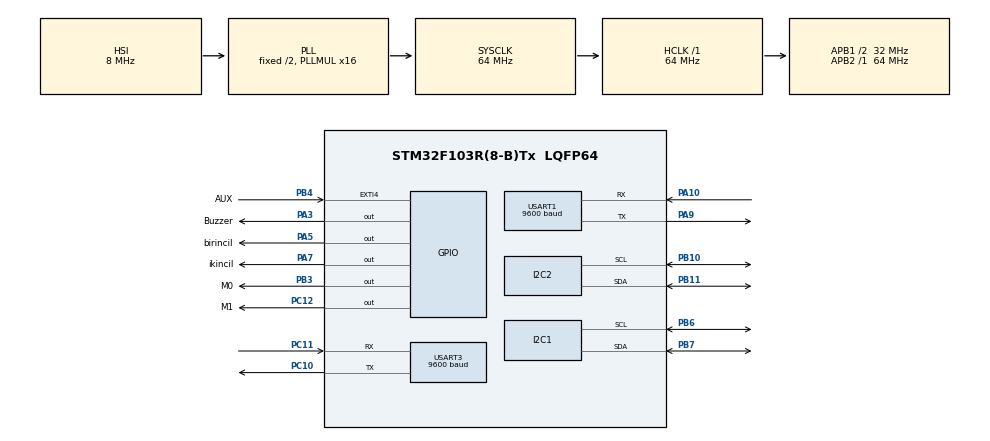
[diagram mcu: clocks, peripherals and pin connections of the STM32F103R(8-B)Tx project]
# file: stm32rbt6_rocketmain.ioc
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I2C1.I2C_Mode=I2C_Standard
I2C2.I2C_Mode=I2C_Standard
Mcu.Family=STM32F1
Mcu.Name=STM32F103R(8-B)Tx
Mcu.Package=LQFP64
NVIC.EXTI4_IRQn=true\:0\:0\:false\:false\:true\:true\:true\:true
NVIC.PriorityGroup=NVIC_PRIORITYGROUP_4
NVIC.USART1_IRQn=true\:0\:0\:false\:false\:true\:true\:true\:true
PA10.Mode=Asynchronous
PA10.Signal=USART1_RX
PA13.Mode=Serial_Wire
PA13.Signal=SYS_JTMS-SWDIO
PA14.Mode=Serial_Wire
PA14.Signal=SYS_JTCK-SWCLK
PA3.GPIO_Label=Buzzer
PA3.Signal=GPIO_Output
PA5.GPIO_Label=birincil
PA5.Signal=GPIO_Output
PA7.GPIO_Label=ikincil
PA7.Signal=GPIO_Output
PA9.Mode=Asynchronous
PA9.Signal=USART1_TX
PB10.Mode=I2C
PB10.Signal=I2C2_SCL
PB11.Mode=I2C
PB11.Signal=I2C2_SDA
PB3.GPIO_Label=M0
PB3.Signal=GPIO_Output
PB4.GPIO_Label=AUX
PB4.Signal=GPXTI4
PB6.Mode=I2C
PB6.Signal=I2C1_SCL
PB7.Mode=I2C
PB7.Signal=I2C1_SDA
PC10.Mode=Asynchronous
PC10.Signal=USART3_TX
PC11.Mode=Asynchronous
PC11.Signal=USART3_RX
PC12.GPIO_Label=M1
PC12.Signal=GPIO_Output
PD0-OSC_IN.Mode=HSE-External-Oscillator
PD0-OSC_IN.Signal=RCC_OSC_IN
PD1-OSC_OUT.Mode=HSE-External-Oscillator
PD1-OSC_OUT.Signal=RCC_OSC_OUT
ProjectManager.HeapSize=0x200
ProjectManager.StackSize=0x400
ProjectManager.TargetToolchain=STM32CubeIDE
RCC.AHBFreq_Value=64000000
RCC.APB1CLKDivider=RCC_HCLK_DIV2
RCC.APB1Freq_Value=32000000
RCC.APB1TimFreq_Value=64000000
RCC.APB2Freq_Value=64000000
RCC.APB2TimFreq_Value=64000000
RCC.HCLKFreq_Value=64000000
RCC.HSE_VALUE=16000000
RCC.PLLMUL=RCC_PLL_MUL16
RCC.SYSCLKFreq_VALUE=64000000
RCC.SYSCLKSource=RCC_SYSCLKSOURCE_PLLCLK
RCC.USBFreq_Value=64000000
USART1.BaudRate=9600
USART1.VirtualMode=VM_ASYNC
USART3.BaudRate=9600
USART3.VirtualMode=VM_ASYNC
board=custom

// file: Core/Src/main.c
/* USER CODE BEGIN Header */
/**
  ******************************************************************************
  * @file           : main.c
  * @brief          : Main program body
  ******************************************************************************
  * @attention
  *
  * Copyright (c) 2023 STMicroelectronics.
  * All rights reserved.
  *
  * This software is licensed under terms that can be found in the LICENSE file
  * in the root directory of this software component.
  * If no LICENSE file comes with this software, it is provided AS-IS.
  *
  ******************************************************************************
  ******************************************************************************
  gps ok

  */
/* USER CODE END Header */
#include "main.h"
#include "i2c.h"
#include "usart.h"
#include "gpio.h"

/* USER CODE BEGIN Includes */
//standart c libraries
#include "stdint.h"
#include "stdio.h"
#include "math.h"
#include "string.h"

//Sensor libraries
#include "lwgps.h"
#include "bmi160_wrapper.h"
#include <bmp3_wrapper.h>

#include "lora_lib.h"
#include "E32Lora.h"

//Filter libraries
#include "micros.h"

#include "quaternion.h"
#include "FusionAHRS.h"
#include "LowPassFilter.h"
#include "NotchFilter.h"

/* USER CODE END Includes */

/* USER CODE BEGIN PTD */
lwgps_t gps; //gps struct
BMI160_t imu_t; //bmı160 struct
BMP390_t bmp_t; //bmp390 struct

dataPaket_t     paket;
Variables_t     variable = { .telemTimer = 0 , .firstinit = TRUE  , .u8_buffer = { 0 } , .u8_counter = 0};
dataStruct_t    data     ;
GcsPaket_t      gcsStructPaket;

Quaternion_t quaternion_t;//quaternion filter struct

FusionBias fusionBiasIMU1;
FusionAhrs fusionAhrsIMU1;
FusionAHRS_t AHRS_IMU1;

NotchFilter_t NF_gyro_x, NF_gyro_y, NF_gyro_z;
LPFTwoPole_t LPF_accel_x, LPF_accel_y, LPF_accel_z, LPF_gyro_x, LPF_gyro_y, LPF_gyro_z;

/* USER CODE END PTD */

/* USER CODE BEGIN PD */
//for low pass filter
#define 	SAMPLE_FREQ_HZ 		200.0f	// Data sample frequency in Hz
#define 	LPF_ACCEL_CTOFF_HZ 	260.0f	// LPF Cut-Off or accelerometer
#define 	LPF_GYRO_CTOFF_HZ 	256.0f	// LPF Cut-Off or gyro
#define 	NF_GYRO_CFREQ_HZ	74.0f	// NF center frequency for Gyro
#define 	NF_GYRO_NWDTH_HZ	5.0f	// NF notch-width frequency for Gyro

#define CURRENT_NODE ROCKET_NODE	//node information

#define MESSAGE_LENGTH  sizeof(message)
#define RECV_LENTH		sizeof(recv)
#define DATA_PKT_LENGTH sizeof( dataPaket_t )
/* USER CODE END PD */

void SystemClock_Config(void);

/* USER CODE BEGIN 0 */
uint8_t gpsrx_buffer[256];
uint8_t gpsrx_index = 0;
uint8_t gpsrx_data = 0;
uint8_t lora_buffer[256];
uint8_t lora_index = 0;
uint8_t lora_data = 0;

void HAL_UART_RxCpltCallback(UART_HandleTypeDef *huart)	//interrupt ile tetiklenerek gps verilerini alır
{
	if(huart == &huart1) //gpsin bağlı olduğu uart kanalı
	{
		if(gpsrx_data != '\n' && gpsrx_index < sizeof(gpsrx_buffer)) {
			gpsrx_buffer[gpsrx_index++] = gpsrx_data; //buffera data aktarılır
		} else {
			lwgps_process(&gps, gpsrx_buffer, gpsrx_index+1);//data parser
			gpsrx_index = 0;
			gpsrx_data = 0;//gelen data tekrar sıfıra eşitlenir
		}
		HAL_UART_Receive_IT(&huart1, &gpsrx_data, 1);
	}
/*
	if(huart==&huart3){

		HAL_UART_Receive(&huart3, &lora_data, 1, 10);
		lora_buffer[lora_index]=lora_data;
		lora_index++;
		HAL_UART_Receive_IT(&huart3, &lora_data, 1);

	}*/
}//gps interruot

uint8_t message[ 3 ]={0xc1, 0xc1, 0xc1 };
uint8_t recv[ 6 ]={0xff,0xff,0xff,0xff,0xff,0xff};

//for filter
float sample_time_sec_f32 = 1.0f / SAMPLE_FREQ_HZ;
float sample_time_us_f32 = (1.0f / SAMPLE_FREQ_HZ) * 1000000.0f;

float accelLowPassFiltered_f32[3], gyroLowPassFiltered_f32[3], gyroNotchFiltered_f32[3];

float eulerAngles_f32[3];

uint64_t timer_u64 = 0;
uint64_t lastTime_u64 = 0;

/* USER CODE END 0 */

int main(void)
{
  /* USER CODE BEGIN 1 */
 	uint8_t is_fly = 0;
 	uint8_t buz_delay=0;
 	uint8_t status=1;
 	uint8_t first=0;
 	uint8_t second=0;
 	uint8_t status_lora = 0;
 	uint8_t buz_init = 0;
 	uint8_t error=0;
  /* USER CODE END 1 */

  /* MCU Configuration--------------------------------------------------------*/

  /* Reset of all peripherals, Initializes the Flash interface and the Systick. */
  HAL_Init();

  /* Configure the system clock */
  SystemClock_Config();

  /* Initialize all configured peripherals */
  MX_GPIO_Init();
  MX_I2C1_Init();
  MX_I2C2_Init();
  MX_USART1_UART_Init();
  MX_USART3_UART_Init();
  /* USER CODE BEGIN 2 */

  initFusionAHRS(&fusionBiasIMU1, &fusionAhrsIMU1, &AHRS_IMU1, sample_time_sec_f32);

  lwgps_init(&gps);

  while (BMI160_init(&imu_t) != 0 );
  while (BMP390_init(&bmp_t) != 0 );
  HAL_Delay(50);

  //lora lib init
  E32_Init(M0_GPIO_Port, M0_Pin, M1_GPIO_Port, M1_Pin, AUX_GPIO_Port, AUX_Pin, &huart3);
  E32_SetMode(SLEEP_MODE);
  HAL_Delay(50);

  // Lora'nın , var olan configini okuyoruz.*********************
  status_lora = HAL_UART_Transmit(&huart3, message, MESSAGE_LENGTH , 2000);
  status_lora = HAL_UART_Receive(&huart3,recv, RECV_LENTH,2000);//config oku
  HAL_Delay(50);

  //activate lora normal mod
  HAL_GPIO_WritePin(M0_GPIO_Port ,M0_Pin, GPIO_PIN_RESET);
  HAL_GPIO_WritePin(M1_GPIO_Port, M1_Pin, GPIO_PIN_RESET);
  HAL_Delay(200);

  HAL_GPIO_WritePin(Buzzer_GPIO_Port, Buzzer_Pin, GPIO_PIN_SET);

  HAL_UART_Receive_IT(&huart1, &gpsrx_data, 1);//uart1den gelen interruptları almak için

  /* USER CODE END 2 */

  /* Infinite loop */
  while (1)
  {

    /* USER CODE BEGIN 3 */

	  //buzzer reset for x sec
	  if(buz_delay <254){
		  buz_delay++;
	  }

	  if(buz_delay>250 && buz_init ==0){
		  HAL_GPIO_WritePin(Buzzer_GPIO_Port, Buzzer_Pin, GPIO_PIN_RESET);
		  buz_init=1;
	  }

	  // sensors okey?
	  if (  imu_t.INIT_OK_i8 != TRUE && bmp_t.INIT_OK_i8 != TRUE)
	  	 {
	  	  	//x*******Read Data******
	  	  	error=bmi160ReadAccelGyro(&imu_t);	//gyro verilerini oku (i2c1 kullanır)
	  	  	error=BMP390_get_data(&bmp_t);//basınç oku (i2c2 kullanır)

	  	  	getFusionAHRS_6DoF(&fusionBiasIMU1, &fusionAhrsIMU1, &AHRS_IMU1, imu_t.BMI160_Accel_f32[0], imu_t.BMI160_Accel_f32[1],
		imu_t.BMI160_Accel_f32[2],imu_t.BMI160_Gyro_f32[0],imu_t.BMI160_Gyro_f32[1],imu_t.BMI160_Gyro_f32[2]);

	  	 }
//fly trigger
	  if(bmp_t.altitude>700){
	  	  	  is_fly= 1;
	  	 }

//birincil patlama
	  if ((AHRS_IMU1.PITCH<-55 || AHRS_IMU1.PITCH > 55 || AHRS_IMU1.ROLL<-50 || AHRS_IMU1.ROLL > 50) && is_fly==1){

	  		HAL_GPIO_WritePin(birincil_GPIO_Port,birincil_Pin,GPIO_PIN_SET);
	  		first=1;
	  	}

//ikincil patlama
	  	if(bmp_t.altitude<600 && is_fly == 1 && first ==1){

	  		HAL_GPIO_WritePin(ikincil_GPIO_Port, ikincil_Pin, GPIO_PIN_SET);
	  		second=1;

	  	}

	  if ( variable.firstinit )
	  	{
	  		initDataPaket( &paket,  CURRENT_NODE );
	  		variable.firstinit  = FALSE;
	  		memset( &data , 0  , sizeof( dataStruct_t ) );
	  		variable.telemTimer = HAL_GetTick();
	  	}

	  if(first==1){
		  status=2;
	  }
	  if(second==1){
		  status = 3;
	  }
	  if(first==1 && second==1){
		  status=4;
	  }

	  data.roket_gps_enlem= gps.latitude;
	  data.roket_gps_boylam = gps.longitude;
/*
	  data.roket_gps_enlem = 39.927170 ;
	  data.roket_gps_boylam = 32.835861;
*/
	  data.roket_gps_irtifa = gps.altitude;
	  data.acc_x= imu_t.BMI160_Accel_f32[0];
	  data.acc_y=imu_t.BMI160_Accel_f32[1];
	  data.acc_z=imu_t.BMI160_Accel_f32[2];
	  data.angle=AHRS_IMU1.PITCH;
	  data.gyro_x=imu_t.BMI160_Gyro_f32[0];
	  data.gyro_y=imu_t.BMI160_Gyro_f32[1];
	  data.gyro_z=AHRS_IMU1.PITCH+5;
	  data.irtifa = bmp_t.altitude;
	  data.status=status;

	  if ( HAL_GetTick() - (variable.telemTimer)  >= 800 )
	 	{

		  veriPaketle( &paket,  &data);
	 	  verileriYolla( paket.u8_array , DATA_PKT_LENGTH );
	 	  variable.telemTimer = HAL_GetTick();
	 	 }

  }
  /* USER CODE END 3 */
}

void SystemClock_Config(void)
{
  RCC_OscInitTypeDef RCC_OscInitStruct = {0};
  RCC_ClkInitTypeDef RCC_ClkInitStruct = {0};

  /** Initializes the RCC Oscillators according to the specified parameters
  * in the RCC_OscInitTypeDef structure.
  */
  RCC_OscInitStruct.OscillatorType = RCC_OSCILLATORTYPE_HSI;
  RCC_OscInitStruct.HSIState = RCC_HSI_ON;
  RCC_OscInitStruct.HSICalibrationValue = RCC_HSICALIBRATION_DEFAULT;
  RCC_OscInitStruct.PLL.PLLState = RCC_PLL_ON;
  RCC_OscInitStruct.PLL.PLLSource = RCC_PLLSOURCE_HSI_DIV2;
  RCC_OscInitStruct.PLL.PLLMUL = RCC_PLL_MUL16;
  if (HAL_RCC_OscConfig(&RCC_OscInitStruct) != HAL_OK)
  {
    Error_Handler();
  }

  /** Initializes the CPU, AHB and APB buses clocks
  */
  RCC_ClkInitStruct.ClockType = RCC_CLOCKTYPE_HCLK|RCC_CLOCKTYPE_SYSCLK
                              |RCC_CLOCKTYPE_PCLK1|RCC_CLOCKTYPE_PCLK2;
  RCC_ClkInitStruct.SYSCLKSource = RCC_SYSCLKSOURCE_PLLCLK;
  RCC_ClkInitStruct.AHBCLKDivider = RCC_SYSCLK_DIV1;
  RCC_ClkInitStruct.APB1CLKDivider = RCC_HCLK_DIV2;
  RCC_ClkInitStruct.APB2CLKDivider = RCC_HCLK_DIV1;

  if (HAL_RCC_ClockConfig(&RCC_ClkInitStruct, FLASH_LATENCY_2) != HAL_OK)
  {
    Error_Handler();
  }
}

void Error_Handler(void)
{
  __disable_irq();
  while (1)
  {
  }
}
